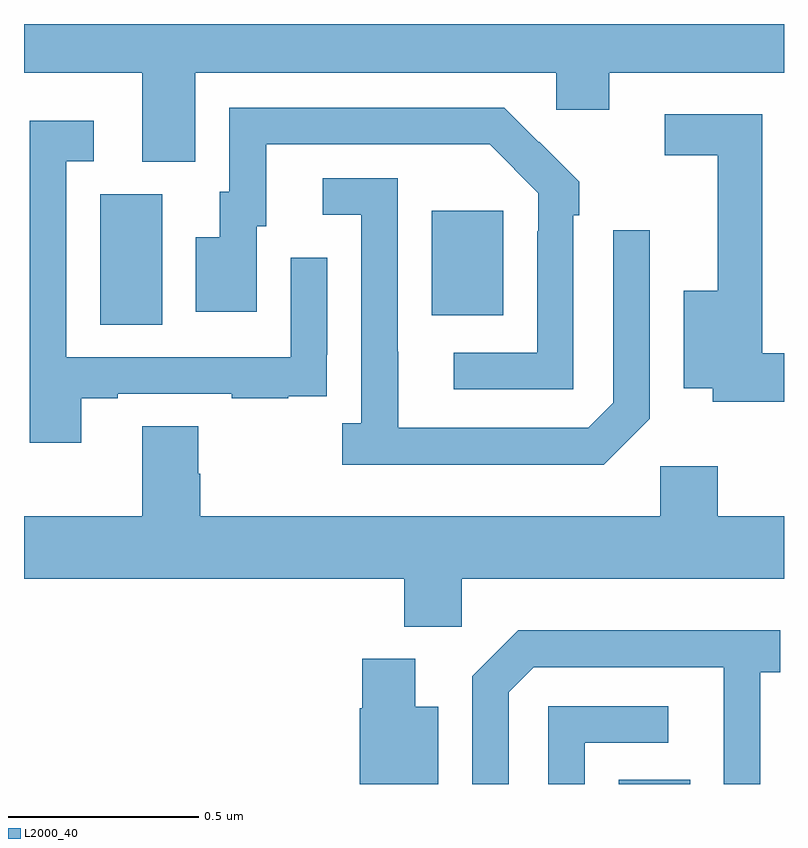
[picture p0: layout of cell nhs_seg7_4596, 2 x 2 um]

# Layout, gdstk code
import gdstk
lib = gdstk.Library(unit=1e-6, precision=1e-09)
def R(c, l, rs):  # rectangles x0, y0, x1, y1
    for r in rs: c.add(gdstk.rectangle(r[:2], r[2:], *l))
def P(c, l, *ps):  # polygons
    for p in ps: c.add(gdstk.Polygon(p, *l))
L2000_40 = (2000, 40)

nhs_seg7_4596 = lib.new_cell('nhs_seg7_4596')
R(nhs_seg7_4596, L2000_40, [(175.565,1076,175.753,1076.011), (174.2,1077.208,174.364,1077.552), (175.073,1077.233,175.261,1077.508)])
P(nhs_seg7_4596, L2000_40, [(174,1077.872),(174.311,1077.872),(174.311,1077.637),(174.451,1077.637),(174.451,1077.872),(175.401,1077.872),(175.401,1077.774),(175.54,1077.774),(175.54,1077.872),(176,1077.872),(176,1078),(174,1078)],
  [(175.446,1077.497),(175.461,1077.497),(175.461,1077.585),(175.356,1077.69),(175.355,1077.689),(175.264,1077.78),(174.54,1077.78),(174.54,1077.558),(174.515,1077.558),(174.515,1077.439),(174.452,1077.439),(174.452,1077.243),(174.613,1077.243),(174.613,1077.468),(174.637,1077.468),(174.637,1077.684),(175.225,1077.684),(175.353,1077.555),(175.353,1077.455),(175.35,1077.455),(175.35,1077.135),(175.131,1077.135),(175.131,1077.039),(175.446,1077.039)],
  [(176,1077.134),(175.943,1077.134),(175.943,1077.762),(175.686,1077.762),(175.686,1077.654),(175.826,1077.654),(175.826,1077.298),(175.736,1077.298),(175.736,1077.041),(175.812,1077.041),(175.812,1077.006),(176,1077.006)],
  [(174.151,1077.015),(174.247,1077.015),(174.247,1077.027),(174.547,1077.027),(174.547,1077.015),(174.695,1077.015),(174.695,1077.021),(174.797,1077.021),(174.797,1077.13),(174.798,1077.13),(174.798,1077.385),(174.702,1077.385),(174.702,1077.123),(174.111,1077.123),(174.111,1077.639),(174.184,1077.639),(174.184,1077.745),(174.015,1077.745),(174.015,1076.898),(174.151,1076.898)],
  [(175.647,1076.961),(175.647,1077.457),(175.551,1077.457),(175.551,1077.003),(175.485,1076.937),(174.985,1076.937),(174.985,1077.137),(174.984,1077.137),(174.984,1077.594),(174.786,1077.594),(174.786,1077.498),(174.888,1077.498),(174.888,1076.95),(174.837,1076.95),(174.837,1076.84),(175.526,1076.84)],
  [(175.152,1076.54),(176,1076.54),(176,1076.704),(175.826,1076.704),(175.826,1076.836),(175.674,1076.836),(175.674,1076.704),(174.464,1076.704),(174.464,1076.817),(174.459,1076.817),(174.459,1076.942),(174.311,1076.942),(174.311,1076.704),(174,1076.704),(174,1076.54),(175.001,1076.54),(175.001,1076.414),(175.152,1076.414)],
  [(175.275,1076.241),(175.341,1076.307),(175.841,1076.307),(175.841,1076.107),(175.842,1076.107),(175.842,1076),(175.938,1076),(175.938,1076.294),(175.99,1076.294),(175.99,1076.404),(175.3,1076.404),(175.179,1076.283),(175.179,1076),(175.275,1076)],
  [(175.09,1076.203),(175.03,1076.203),(175.03,1076.329),(174.89,1076.329),(174.89,1076.199),(174.883,1076.199),(174.883,1076),(175.09,1076)],
  [(175.476,1076.109),(175.696,1076.109),(175.696,1076.205),(175.38,1076.205),(175.38,1076),(175.476,1076)])

lib.write_gds('nhs_seg7_4596.gds')
